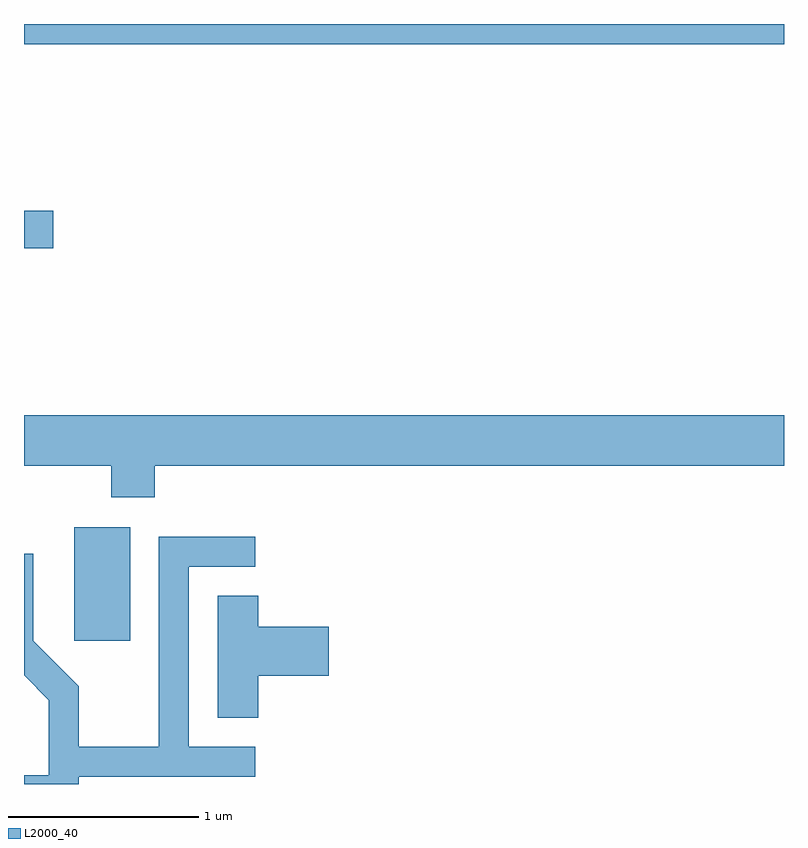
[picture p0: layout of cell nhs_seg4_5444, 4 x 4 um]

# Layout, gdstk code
import gdstk
lib = gdstk.Library(unit=1e-6, precision=1e-09)
def R(c, l, rs):  # rectangles x0, y0, x1, y1
    for r in rs: c.add(gdstk.rectangle(r[:2], r[2:], *l))
def P(c, l, *ps):  # polygons
    for p in ps: c.add(gdstk.Polygon(p, *l))
L2000_40 = (2000, 40)

nhs_seg4_5444 = lib.new_cell('nhs_seg4_5444')
R(nhs_seg4_5444, L2000_40, [(345.876,1262.736,346.169,1263.334), (345.611,1264.801,345.764,1264.999), (345.611,1265.876,349.611,1265.982)])
P(nhs_seg4_5444, L2000_40, [(346.299,1263.656),(349.611,1263.656),(349.611,1263.924),(345.611,1263.924),(345.611,1263.656),(346.071,1263.656),(346.071,1263.491),(346.299,1263.491)],
  [(345.899,1262.021),(346.828,1262.021),(346.828,1262.179),(346.479,1262.179),(346.479,1263.126),(346.828,1263.126),(346.828,1263.284),(346.321,1263.284),(346.321,1262.179),(345.899,1262.179),(345.899,1262.497),(345.659,1262.737),(345.659,1263.193),(345.611,1263.193),(345.611,1262.554),(345.741,1262.424),(345.741,1262.029),(345.611,1262.029),(345.611,1261.982),(345.899,1261.982)],
  [(346.844,1262.551),(347.214,1262.551),(347.214,1262.809),(346.844,1262.809),(346.844,1262.974),(346.631,1262.974),(346.631,1262.331),(346.844,1262.331)])

lib.write_gds('nhs_seg4_5444.gds')
